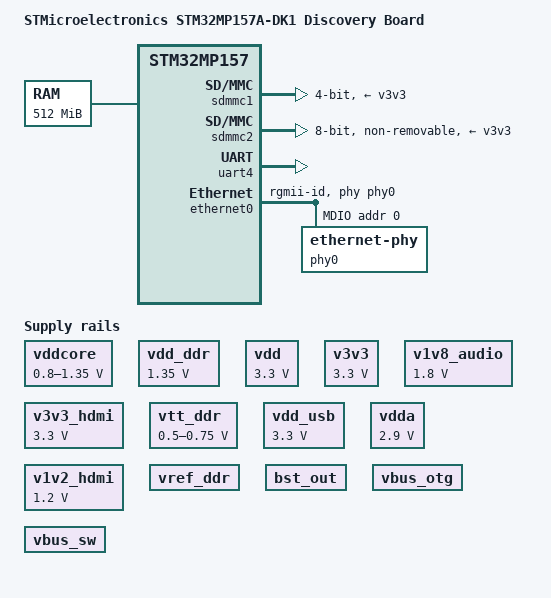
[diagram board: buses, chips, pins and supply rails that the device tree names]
// SPDX-License-Identifier: (GPL-2.0+ OR BSD-3-Clause)
/*
 * Copyright (C) STMicroelectronics 2019 - All Rights Reserved
 * Author: Alexandre Torgue <alexandre.torgue@st.com> for STMicroelectronics.
 */

/dts-v1/;

#include "stm32mp157d.dtsi"
#include "stm32mp157xad-pinctrl.dtsi"
#include <dt-bindings/gpio/gpio.h>
#include <dt-bindings/mfd/st,stpmic1.h>

/ {
	model = "STMicroelectronics STM32MP157A-DK1 Discovery Board";
	compatible = "st,stm32mp157a-dk1", "st,stm32mp157";

	aliases {
		ethernet0 = &ethernet0;
		serial0 = &uart4;
	};

	chosen {
		stdout-path = "serial0:115200n8";
	};

	memory@c0000000 {
		reg = <0xc0000000 0x20000000>;
	};

	reserved-memory {
		#address-cells = <1>;
		#size-cells = <1>;
		ranges;

		mcuram2: mcuram2@10000000 {
			compatible = "shared-dma-pool";
			reg = <0x10000000 0x40000>;
			no-map;
		};

		vdev0vring0: vdev0vring0@10040000 {
			compatible = "shared-dma-pool";
			reg = <0x10040000 0x1000>;
			no-map;
		};

		vdev0vring1: vdev0vring1@10041000 {
			compatible = "shared-dma-pool";
			reg = <0x10041000 0x1000>;
			no-map;
		};

		vdev0buffer: vdev0buffer@10042000 {
			compatible = "shared-dma-pool";
			reg = <0x10042000 0x4000>;
			no-map;
		};

		mcuram: mcuram@30000000 {
			compatible = "shared-dma-pool";
			reg = <0x30000000 0x40000>;
			no-map;
		};

		retram: retram@38000000 {
			compatible = "shared-dma-pool";
			reg = <0x38000000 0x10000>;
			no-map;
		};

		gpu_reserved: gpu@d4000000 {
			reg = <0xd4000000 0x4000000>;
			no-map;
		};

	};

	pm_domain {
		#address-cells = <1>;
		#size-cells = <0>;
		compatible = "st,stm32mp157c-pd";

		pd_core_ret: core-ret-power-domain@1 {
			#address-cells = <1>;
			#size-cells = <0>;
			reg = <1>;
			#power-domain-cells = <0>;
			label = "CORE-RETENTION";

			pd_core: core-power-domain@2 {
				reg = <2>;
				#power-domain-cells = <0>;
				label = "CORE";
			};
		};
	};
			vddcore: buck1 {
                compatible = "regulator-fixed";
				regulator-name = "vddcore";
				regulator-min-microvolt = <800000>;
				regulator-max-microvolt = <1350000>;
				regulator-always-on;
				regulator-initial-mode = <0>;
				regulator-over-current-protection;
			};

			vdd_ddr: buck2 {
                compatible = "regulator-fixed";
				regulator-name = "vdd_ddr";
				regulator-min-microvolt = <1350000>;
				regulator-max-microvolt = <1350000>;
				regulator-always-on;
				regulator-initial-mode = <0>;
				regulator-over-current-protection;
			};

			vdd: buck3 {
                compatible = "regulator-fixed";
				regulator-name = "vdd";
				regulator-min-microvolt = <3300000>;
				regulator-max-microvolt = <3300000>;
				regulator-always-on;
				st,mask-reset;
				regulator-initial-mode = <0>;
				regulator-over-current-protection;
			};

			v3v3: buck4 {
                compatible = "regulator-fixed";
				regulator-name = "v3v3";
				regulator-min-microvolt = <3300000>;
				regulator-max-microvolt = <3300000>;
				regulator-always-on;
				regulator-over-current-protection;
				regulator-initial-mode = <0>;
			};

			v1v8_audio: ldo1 {
                compatible = "regulator-fixed";
				regulator-name = "v1v8_audio";
				regulator-min-microvolt = <1800000>;
				regulator-max-microvolt = <1800000>;
				regulator-always-on;
				//interrupts = <IT_CURLIM_LDO1 0>;
			};

			v3v3_hdmi: ldo2 {
                compatible = "regulator-fixed";
				regulator-name = "v3v3_hdmi";
				regulator-min-microvolt = <3300000>;
				regulator-max-microvolt = <3300000>;
				regulator-always-on;
				//interrupts = <IT_CURLIM_LDO2 0>;
			};

			vtt_ddr: ldo3 {
                compatible = "regulator-fixed";
				regulator-name = "vtt_ddr";
				regulator-min-microvolt = <500000>;
				regulator-max-microvolt = <750000>;
				regulator-always-on;
				regulator-over-current-protection;
			};

			vdd_usb: ldo4 {
                compatible = "regulator-fixed";
				regulator-name = "vdd_usb";
				regulator-min-microvolt = <3300000>;
				regulator-max-microvolt = <3300000>;
				//interrupts = <IT_CURLIM_LDO4 0>;
			};

			vdda: ldo5 {
                compatible = "regulator-fixed";
				regulator-name = "vdda";
				regulator-min-microvolt = <2900000>;
				regulator-max-microvolt = <2900000>;
				//interrupts = <IT_CURLIM_LDO5 0>;
				regulator-boot-on;
			};

			v1v2_hdmi: ldo6 {
                compatible = "regulator-fixed";
				regulator-name = "v1v2_hdmi";
				regulator-min-microvolt = <1200000>;
				regulator-max-microvolt = <1200000>;
				regulator-always-on;
				//interrupts = <IT_CURLIM_LDO6 0>;
			};

			vref_ddr: vref_ddr {
                compatible = "regulator-fixed";
				regulator-name = "vref_ddr";
				regulator-always-on;
				regulator-over-current-protection;
			};

			 bst_out: boost {
                compatible = "regulator-fixed";
				regulator-name = "bst_out";
				//interrupts = <IT_OCP_BOOST 0>;
			 };

			vbus_otg: pwr_sw1 {
                compatible = "regulator-fixed";
				regulator-name = "vbus_otg";
				//interrupts = <IT_OCP_OTG 0>;
			 };

			 vbus_sw: pwr_sw2 {
                compatible = "regulator-fixed";
				regulator-name = "vbus_sw";
				//interrupts = <IT_OCP_SWOUT 0>;
				regulator-active-discharge;
			 };
};


&sdmmc1 {
	pinctrl-names = "default", "opendrain", "sleep";
	pinctrl-0 = <&sdmmc1_b4_pins_a>;
	pinctrl-1 = <&sdmmc1_b4_od_pins_a>;
	pinctrl-2 = <&sdmmc1_b4_sleep_pins_a>;
	broken-cd;
	st,neg-edge;
	bus-width = <4>;
	vmmc-supply = <&v3v3>;
	status = "okay";
};

&sdmmc2 {
	pinctrl-names = "default", "opendrain", "sleep";
	pinctrl-0 = <&sdmmc2_b4_pins_a>;
	pinctrl-1 = <&sdmmc2_b4_od_pins_a>;
	pinctrl-2 = <&sdmmc2_b4_sleep_pins_a>;
    non-removable;
	st,neg-edge;
    no-1-8-v;
	bus-width = <8>;
	vmmc-supply = <&v3v3>;
    keep-power-in-suspend;
	status = "okay";
};

&uart4 {
	pinctrl-names = "default";
	pinctrl-0 = <&uart4_pins_a>;
	status = "okay";
};

&ethernet0 {
	status = "okay";
	pinctrl-0 = <&ethernet0_rgmii_pins_a>;
	pinctrl-1 = <&ethernet0_rgmii_pins_sleep_a>;
	pinctrl-names = "default", "sleep";
	phy-mode = "rgmii-id";
	max-speed = <1000>;
	phy-handle = <&phy0>;

	mdio0 {
		#address-cells = <1>;
		#size-cells = <0>;
		compatible = "snps,dwmac-mdio";
		phy0: ethernet-phy@0 {
			reg = <0>;
		};
	};
};
